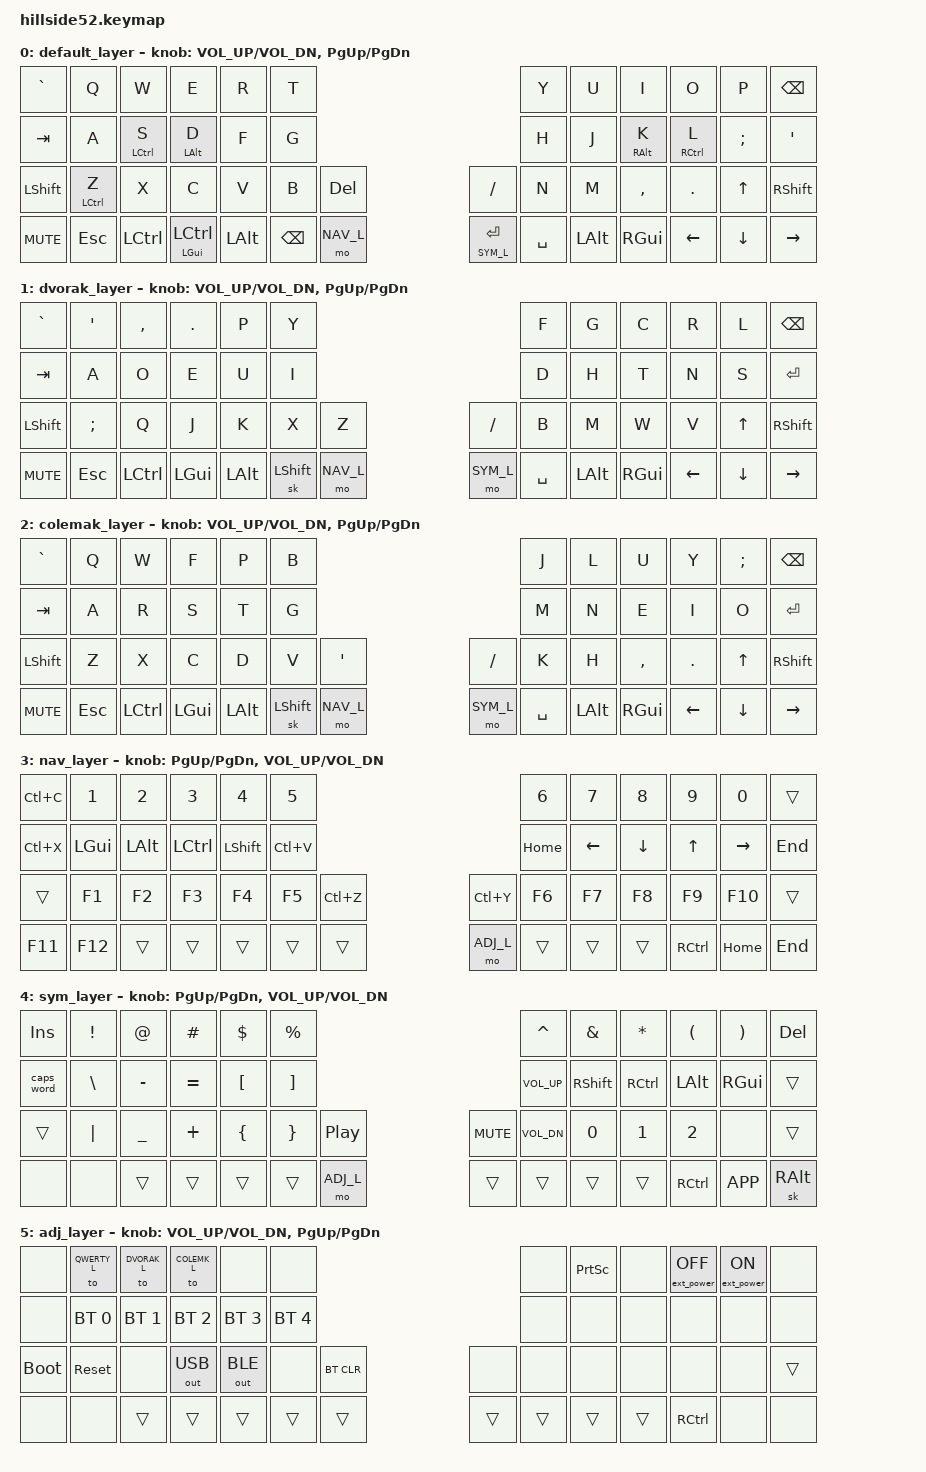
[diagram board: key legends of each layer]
/*
 * Copyright (c) 2021-2022 The ZMK Contributors
 *
 * SPDX-License-Identifier: MIT
 */

#include <behaviors.dtsi>
#include <dt-bindings/zmk/bt.h>
#include <dt-bindings/zmk/ext_power.h>
#include <dt-bindings/zmk/keys.h>
#include <dt-bindings/zmk/outputs.h>

#define QWERTY_L 0
#define DVORAK_L 1
#define COLEMK_L 2
#define NAV_L    3
#define SYM_L    4
#define ADJ_L    5

#define Undo   LC(Z)
#define Cut    LC(X)
#define Copy   LC(C)
#define Paste  LC(V)
#define Redo   LC(Y)


/ {

        behaviors {
                hm_l: homerow_mods_left {
                        compatible = "zmk,behavior-hold-tap";
                        label = "HOMEROW_MODS_L";
                        #binding-cells = <2>;
                        tapping-term-ms = <300>;
                        quick-tap-ms = <250>;
                        flavor = "tap-preferred";
                        bindings = <&kp>, <&kp>;
                };
                hm_r: homerow_mods_right {
                        compatible = "zmk,behavior-hold-tap";
                        label = "HOMEROW_MODS_R";
                        #binding-cells = <2>;
                        tapping-term-ms = <300>;
                        quick-tap-ms = <250>;
                        flavor = "tap-preferred";
                        bindings = <&kp>, <&kp>;
                };     
        };



        keymap {
                compatible = "zmk,keymap";

                default_layer {
/* QWERTY
 * -------------------------------------------------------------------------------------------------------------------------------------
 * | `     |   Q   |   W   |   E   |   R   |   T   |-----------------------------------|   Y   |   U   |   I   |   O   |   P   | BKSPC |
 * | TAB   |   A   |   S   |   D   |   F   |   G   |-----------------------------------|   H   |   J   |   K   |   L   |   ;   |   '   |
 * | SHIFT |   Z   |   X   |   C   |   V   |   B   |   '   |-------------------|   /   |   N   |   M   |   ,   |   .   |  Up   | SHIFT |
 * | Mute  |  ESC  | CTRL  |-------|  GUI  |  ALT  | BKSPC |  Nav  |---|  Sym  | SPACE |  ALT  |  GUI  |-------| Left  | Down  | Right |
 */
                        bindings = <
&kp  GRAVE    &kp  Q        &kp  W        &kp  E        &kp  R          &kp  T                                                                             &kp  Y        &kp  U        &kp  I        &kp  O        &kp  P        &kp  BSPC
&kp  TAB      &kp  A        &hm_l LCTRL S  &hm_l LALT D  &kp F           &kp  G                                                                             &kp  H        &kp  J        &hm_r RALT K  &hm_r RCTRL L  &kp  SEMI     &kp  SQT
&kp  LSHFT    &mt LCTRL Z   &kp  X        &kp  C        &kp  V          &kp  B        &kp  DEL                                               &kp  SLASH    &kp  N        &kp  M        &kp  COMMA    &kp  DOT      &kp  UP       &kp  RSHFT
&kp  C_MUTE   &kp  ESC      &kp  LCTRL                  &mt LGUI LCTRL  &kp  LALT     &kp  BSPC    &mo  NAV_L            &lt  SYM_L ENTER    &kp  SPACE    &kp  LALT     &kp  RGUI                   &kp  LEFT     &kp  DOWN     &kp  RIGHT
                        >;
			
                        sensor-bindings = <&inc_dec_kp C_VOL_UP C_VOL_DN &inc_dec_kp PG_UP PG_DN>;
                };
		
                dvorak_layer {
/* DVORAK
 * -------------------------------------------------------------------------------------------------------------------------------------
 * | `     |   '   |   ,   |   .   |   P   |   Y   |-----------------------------------|   F   |   G   |   C   |   R   |   L   | BKSPC |
 * | TAB   |   A   |   O   |   E   |   U   |   I   |-----------------------------------|   D   |   H   |   T   |   N   |   S   | ENTER |
 * | SHIFT |   ;   |   Q   |   J   |   K   |   X   |   Z   |-------------------|   /   |   B   |   M   |   W   |   V   |  Up   | SHIFT |
 * | Mute  |  ESC  | CTRL  |-------|  GUI  |  ALT  |SK SHFT|  Nav  |---|  Sym  | SPACE |  ALT  |  GUI  |-------| Left  | Down  | Right |
 */
                        bindings = <
&kp  GRAVE    &kp  SQT      &kp  COMMA    &kp  DOT      &kp  P        &kp  Y                                                                         &kp  F        &kp  G        &kp  C        &kp  R        &kp  L        &kp  BSPC
&kp  TAB      &kp  A        &kp  O        &kp  E        &kp  U        &kp  I                                                                         &kp  D        &kp  H        &kp  T        &kp  N        &kp  S        &kp  ENTER
&kp  LSHFT    &kp  SEMI     &kp  Q        &kp  J        &kp  K        &kp  X        &kp  Z                                             &kp  SLASH    &kp  B        &kp  M        &kp  W        &kp  V        &kp  UP       &kp  RSHFT
&kp  C_MUTE   &kp  ESC      &kp  LCTRL                  &kp  LGUI     &kp  LALT     &sk  LSHIFT    &mo  NAV_L            &mo  SYM_L    &kp  SPACE    &kp  LALT     &kp  RGUI                   &kp  LEFT     &kp  DOWN     &kp  RIGHT
                        >;
			
                        sensor-bindings = <&inc_dec_kp C_VOL_UP C_VOL_DN &inc_dec_kp PG_UP PG_DN>;
                };
		
                colemak_layer {
/* COLEMAK-DH
 * -------------------------------------------------------------------------------------------------------------------------------------
 * | `     |   Q   |   W   |   F   |   P   |   B   |-----------------------------------|   J   |   L   |   U   |   Y   |   ;   | BKSPC |
 * | TAB   |   A   |   R   |   S   |   T   |   G   |-----------------------------------|   M   |   N   |   E   |   I   |   O   | ENTER |
 * | SHIFT |   Z   |   X   |   C   |   D   |   V   |   '   |-------------------|   /   |   K   |   H   |   ,   |   .   |  Up   | SHIFT |
 * | Mute  |  ESC  | CTRL  |-------|  GUI  |  ALT  |SK SHFT|  Nav  |---|  Sym  | SPACE |  ALT  |  GUI  |-------| Left  | Down  | Right |
 */
                        bindings = <
&kp  GRAVE    &kp  Q        &kp  W        &kp  F        &kp  P        &kp  B                                                                         &kp  J        &kp  L        &kp  U        &kp  Y        &kp  SEMI     &kp  BSPC
&kp  TAB      &kp  A        &kp  R        &kp  S        &kp  T        &kp  G                                                                         &kp  M        &kp  N        &kp  E        &kp  I        &kp  O        &kp  ENTER
&kp  LSHFT    &kp  Z        &kp  X        &kp  C        &kp  D        &kp  V        &kp  SQT                                           &kp  SLASH    &kp  K        &kp  H        &kp  COMMA    &kp  DOT      &kp  UP       &kp  RSHFT
&kp  C_MUTE   &kp  ESC      &kp  LCTRL                  &kp  LGUI     &kp  LALT     &sk  LSHIFT     &mo  NAV_L           &mo  SYM_L    &kp  SPACE    &kp  LALT     &kp  RGUI                   &kp  LEFT     &kp  DOWN     &kp  RIGHT
                        >;
			
                        sensor-bindings = <&inc_dec_kp C_VOL_UP C_VOL_DN &inc_dec_kp PG_UP PG_DN>;
                };

                nav_layer {
/* NAV
 * -------------------------------------------------------------------------------------------------------------------------------------
 * | Copy  |   1   |   2   |   3   |   4   |   5   |-----------------------------------|   6   |   7   |   8   |   9   |   0   | BSPC  |
 * | Cut   |  GUI  |  Alt  | Ctrl  | Shift | Paste |-----------------------------------| PG UP |  Left |  Up   |  Down | Right | PG DN |
 * | Shift |  F1   |  F2   |  F3   |  F4   |  F5   |  UnDo |-------------------| ReDo  |  F6   |  F7   |  F8   |  F9   |  F10  | Shift |
 * | F11   |  F12  |       |-------|       |       |       |       |---| ADJ_L |       |       |       |-------| CTRL  | HOME  |  END  |
 */
                        bindings = <
&kp  Copy     &kp  N1       &kp  N2       &kp  N3       &kp  N4       &kp  N5                                                                        &kp   N6      &kp  N7      &kp   N8      &kp   N9      &kp  N0       &trans
&kp  Cut      &kp  LGUI     &kp  LALT     &kp  LCTRL    &kp  LSHFT    &kp  Paste                                                                     &kp   HOME    &kp  LEFT    &kp   DOWN    &kp   UP      &kp  RIGHT    &kp END
&trans        &kp  F1       &kp  F2       &kp  F3       &kp  F4       &kp  F5       &kp Undo                                           &kp  Redo     &kp   F6      &kp  F7      &kp   F8      &kp   F9      &kp  F10      &trans
&kp  F11      &kp  F12      &trans                      &trans        &trans        &trans        &trans                 &mo ADJ_L     &trans        &trans        &trans                     &kp  RCTRL    &kp  HOME     &kp  END
                        >;
			
                        sensor-bindings = <&inc_dec_kp PG_UP PG_DN &inc_dec_kp C_VOL_UP C_VOL_DN>;
                };

                sym_layer {
/* SYM
 * -------------------------------------------------------------------------------------------------------------------------------------
 * | INS   |   !   |   @   |   #   |   $   |   %   |-----------------------------------|   ^   |   &   |   *   |   (   |   )   | DELETE|
 * | CAPS  |   \   |   -   |   =   |   [   |   ]   |-----------------------------------| Vol+  | Shift | Ctrl  | Alt   | Gui   | ENTER |
 * | Shift |   |   |   _   |   +   |   {   |   }   | Play  |-------------------| Mute  | Vol-  |  N0   |  N1   |  N2   |       | SHIFT |
 * |       |       |       |-------|       |       |       |  ADJ_L |---|      |       |       |       |-------| CTRL  | MENU  |SkAltGr|
 */
                        bindings = <
&kp  INS      &kp  EXCL     &kp  AT       &kp  HASH     &kp  DOLLAR   &kp  PERCENT                                                                   &kp  CARET    &kp  AMPS     &kp  ASTRK    &kp  LPAR     &kp  RPAR     &kp  DEL
&caps_word    &kp  BSLH     &kp  MINUS    &kp  EQUAL    &kp  LBKT     &kp  RBKT                                                                      &kp C_VOL_UP  &kp  RSHFT    &kp  RCTRL    &kp  LALT     &kp  RGUI     &trans
&trans        &kp  PIPE     &kp  UNDER    &kp  PLUS     &kp  LBRC     &kp  RBRC     &kp  C_PP                                          &kp C_MUTE    &kp C_VOL_DN  &kp  N0       &kp  N1       &kp  N2       &none         &trans
&none         &none         &trans                      &trans        &trans        &trans        &mo  ADJ_L               &trans      &trans        &trans        &trans                      &kp  RCTRL    &kp  K_APP    &sk  RALT
                        >;
			
                        sensor-bindings = <&inc_dec_kp PG_UP PG_DN &inc_dec_kp C_VOL_UP C_VOL_DN>;
                };
		

                adj_layer {
/* ADJUST
 * -------------------------------------------------------------------------------------------------------------------------------------
 * |       | QWERTY| DVORAK| COLEMK|       |       |-----------------------------------|       |Prt Scr|       | EP_OFF| EP_ON |       |
 * |       | BT 0  | BT 1  | BT 2  | BT 3  | BT 4  |-----------------------------------|       |       |       |       |       |       |
 * | BOOTL | RESET |       |OUT_USB|OUT_BLE|       |BT CLR |-------------------|       |       |       |       |       |       | SHIFT |
 * ----------------|       |-------|       |       |       |       |---|       |       |       |       |-------| CTRL  |----------------
 */
                        bindings = <
&none         &to  QWERTY_L &to  DVORAK_L &to  COLEMK_L &none         &none                                                                             &none             &kp PRINTSCREEN    &none         &ext_power EP_OFF  &ext_power EP_ON &none
&none         &bt  BT_SEL 0 &bt  BT_SEL 1 &bt  BT_SEL 2 &bt  BT_SEL 3 &bt  BT_SEL 4                                                                     &none             &none              &none            &none           &none            &none
&bootloader   &sys_reset        &none         &out OUT_USB  &out OUT_BLE  &none         &bt BT_CLR                                         &none            &none             &none              &none            &none           &none            &trans
&none         &none         &trans                      &trans        &trans        &trans        &trans                 &trans        &trans           &trans            &trans                              &kp  RCTRL      &none            &none
                        >;
			
                        sensor-bindings = <&inc_dec_kp C_VOL_UP C_VOL_DN &inc_dec_kp PG_UP PG_DN>;
                };
        };
};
